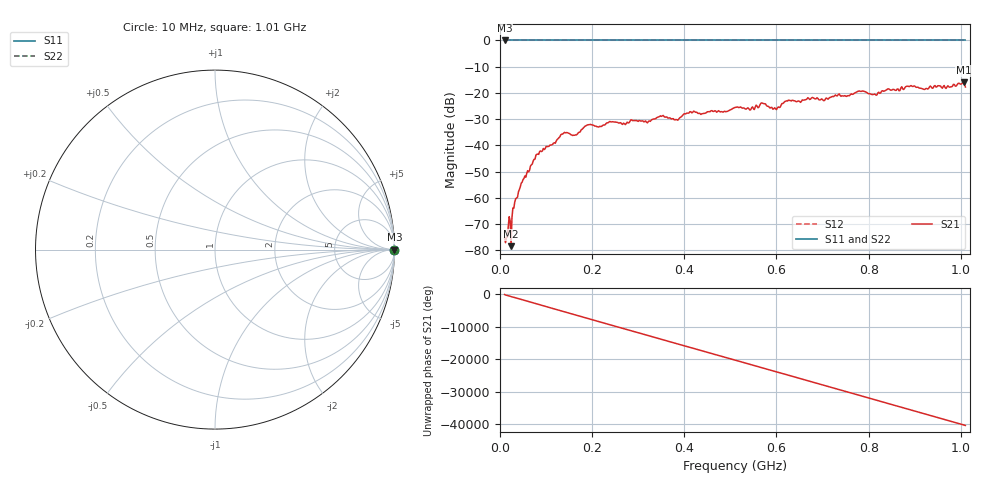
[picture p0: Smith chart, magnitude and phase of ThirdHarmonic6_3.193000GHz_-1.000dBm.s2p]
! 8/17/2025 9:40:34 AM
! C:\ANRITSUVNA\TEMP\TEMP.S2P
! CHANNEL.1
! TR.MEASUREMENT
! RAW.DATA
! RF.CORRECTION.OFF
! AVERAGING.OFF
! IF.BANDWIDTH: 5KHZ
! SWEEPTYPE:  FREQ.SWEEP(Linear)
! Reference Plane Port Info
! PORT:  PORT1  PORT2
! DISTANCE:  0  m  0  m
! TIME:  0  s  0  s
! PHASE.OFFSET:  0  deg.  0  deg.
! LOSS:  0  dB  0  dB
! REF.LOSS:  0  dB  0  dB
! REF.FREQ:  0  Hz  0  Hz
! Power Info
! POWER:  -20  dBm  -20  dBm
! EFF.POWER:  -20  dBm  -20  dBm
! SOURCE.ATTEN:  0  dB  0  dB
! TEST.ATTEN:  0  dB  0  dB
# GHZ S RI R 50.0
! FREQ.GHZ  S11RE  S11IM  S21RE  S21IM  S12RE  S12IM  S22RE  S22IM
!; PortSelection: Port_12
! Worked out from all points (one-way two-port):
!   501 points, 10 MHz to 1.01 GHz, reference 50 ohm
!   highest |S21| = -15.95 dB at 1.006 GHz (marker M1); lowest = -78.4 dB at 24 MHz (marker M2)
!   lowest |S11| = 0.0 dB at 10 MHz (marker M3)
!   |S11| at or under -10 dB: nowhere
!   |S22| runs from 0.0 to 0.0 dB; largest |S21 - S12| = 1.2
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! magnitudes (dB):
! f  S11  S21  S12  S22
! 10 MHz  0.0  -75.4  0.0  0.0
! 24 MHz  0.0  -78.4  0.0  0.0
! 28 MHz  0.0  -63.8  0.0  0.0
! 32 MHz  0.0  -61.6  0.0  0.0
! 46 MHz  0.0  -54.4  0.0  0.0
! 82 MHz  0.0  -43.3  0.0  0.0
! 136 MHz  0.0  -35.7  0.0  0.0
! 162 MHz  0.0  -36.1  0.0  0.0
! 178 MHz  0.0  -33.9  0.0  0.0
! 344 MHz  0.0  -29.2  0.0  0.0
! 382 MHz  0.0  -30.1  0.0  0.0
! 410 MHz  0.0  -27.6  0.0  0.0
! 510 MHz  0.0  -25.5  0.0  0.0
! 548 MHz  0.0  -25.3  0.0  0.0
! 570 MHz  0.0  -24.0  0.0  0.0
! 596 MHz  0.0  -25.7  0.0  0.0
! 624 MHz  0.0  -23.1  0.0  0.0
! 678 MHz  0.0  -21.7  0.0  0.0
! 814 MHz  0.0  -20.5  0.0  0.0
! 844 MHz  0.0  -18.5  0.0  0.0
! 1.006 GHz  0.0  -16.0  0.0  0.0
! 1.01 GHz  0.0  -17.7  0.0  0.0
